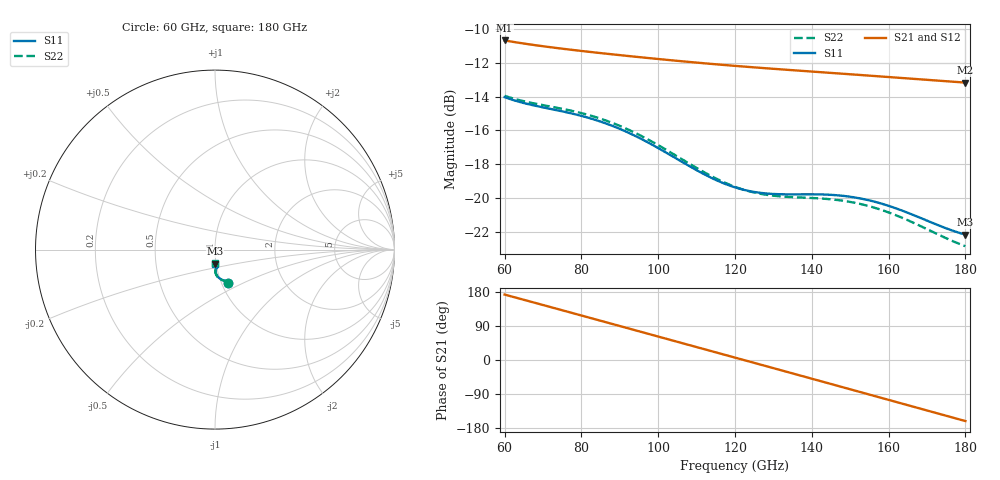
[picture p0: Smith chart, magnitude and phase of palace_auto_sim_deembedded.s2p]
! Created with skrf 1.11.0 (http://scikit-rf.org).
# GHz S DB R 50.0
!freq dBS11 angS11 dBS21 angS21 dBS12 angS12 dBS22 angS22
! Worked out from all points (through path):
!   101 points, 60 GHz to 180 GHz, reference 50 ohm
!   highest |S21| = -10.67 dB at 60 GHz (marker M1); lowest = -13.2 dB at 180 GHz (marker M2)
!   group delay of S21, straight-line fit = 7.73 ps
!   lowest |S11| = -22.2 dB at 180 GHz (marker M3), VSWR 1.17, Z = 49.4 - j7.73 ohm
!   |S11| at or under -10 dB: start of sweep to end of sweep
!   |S22| runs from -22.9 to -14.0 dB; largest |S21 - S12| = 3.9e-13
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60  -14.03 -69.3  -10.67 172.7  -10.67 172.7  -13.95 -68.3
64.8  -14.37 -69.9  -10.85 159.4  -10.85 159.4  -14.26 -68.9
69.6  -14.62 -71.1  -11.00 146.2  -11.00 146.2  -14.49 -70.2
75.6  -14.90 -73.4  -11.18 129.6  -11.18 129.6  -14.75 -72.7
80.4  -15.17 -75.9  -11.30 116.3  -11.30 116.3  -15.00 -75.4
85.2  -15.50 -78.7  -11.42 103.0  -11.42 103.0  -15.32 -78.4
90  -15.91 -81.6  -11.54 89.7  -11.54 89.7  -15.73 -81.4
94.8  -16.42 -84.2  -11.65 76.3  -11.65 76.3  -16.24 -84.3
100.8  -17.15 -86.7  -11.79 59.6  -11.79 59.6  -16.98 -87.1
110.4  -18.41 -88.2  -11.99 33.0  -11.99 33.0  -18.28 -89.2
115.2  -18.96 -87.6  -12.09 19.7  -12.09 19.7  -18.87 -88.9
120  -19.38 -86.4  -12.18 6.3  -12.18 6.3  -19.35 -87.9
124.8  -19.64 -85.0  -12.26 -7.0  -12.26 -7.0  -19.67 -86.7
129.6  -19.77 -84.0  -12.34 -20.4  -12.34 -20.4  -19.86 -85.7
134.4  -19.79 -83.6  -12.42 -33.7  -12.42 -33.7  -19.95 -85.2
140.4  -19.79 -84.2  -12.52 -50.5  -12.52 -50.5  -20.01 -85.7
146.4  -19.85 -85.8  -12.62 -67.2  -12.62 -67.2  -20.12 -87.2
151.2  -19.98 -87.5  -12.69 -80.6  -12.69 -80.6  -20.29 -88.9
156  -20.21 -89.3  -12.77 -94.1  -12.77 -94.1  -20.56 -90.6
160.8  -20.54 -90.9  -12.85 -107.5  -12.85 -107.5  -20.93 -92.1
171.6  -21.50 -92.0  -13.03 -137.7  -13.03 -137.7  -22.03 -93.3
180  -22.18 -89.9  -13.17 -161.1  -13.17 -161.1  -22.87 -91.0
